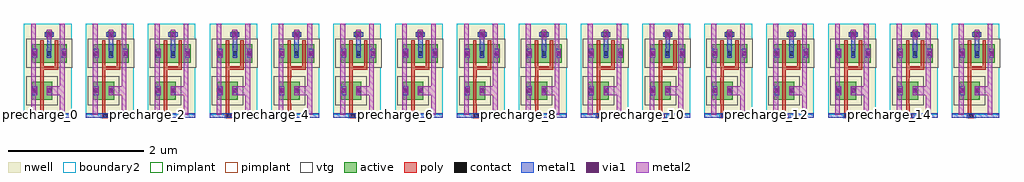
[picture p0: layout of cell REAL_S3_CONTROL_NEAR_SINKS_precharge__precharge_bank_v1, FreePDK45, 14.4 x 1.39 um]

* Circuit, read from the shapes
.subckt REAL_S3_CONTROL_NEAR_SINKS_precharge__precharge_bank_v1 precharge_0 precharge_1 precharge_10 precharge_11 precharge_12 precharge_13 precharge_14 precharge_15 precharge_2 precharge_3 precharge_4 precharge_5 precharge_6 precharge_7 precharge_8 precharge_9 vdd
M1 REAL_S3_CONTROL_NEAR_SINKS_precharge__precharge_unit__0__gen_precharge_0/br precharge_0 REAL_S3_CONTROL_NEAR_SINKS_precharge__precharge_unit__0__gen_precharge_0/bl vdd pfet w=0.27u l=0.05u
M2 vdd precharge_0 REAL_S3_CONTROL_NEAR_SINKS_precharge__precharge_unit__0__gen_precharge_0/bl vdd pfet w=0.27u l=0.05u
M3 REAL_S3_CONTROL_NEAR_SINKS_precharge__precharge_unit__0__gen_precharge_0/br precharge_0 vdd vdd pfet w=0.27u l=0.05u
M4 REAL_S3_CONTROL_NEAR_SINKS_precharge__precharge_unit__0__gen_precharge_1/br precharge_1 REAL_S3_CONTROL_NEAR_SINKS_precharge__precharge_unit__0__gen_precharge_1/bl vdd pfet w=0.27u l=0.05u
M5 vdd precharge_1 REAL_S3_CONTROL_NEAR_SINKS_precharge__precharge_unit__0__gen_precharge_1/bl vdd pfet w=0.27u l=0.05u
M6 REAL_S3_CONTROL_NEAR_SINKS_precharge__precharge_unit__0__gen_precharge_1/br precharge_1 vdd vdd pfet w=0.27u l=0.05u
M7 REAL_S3_CONTROL_NEAR_SINKS_precharge__precharge_unit__0__gen_precharge_2/br precharge_2 REAL_S3_CONTROL_NEAR_SINKS_precharge__precharge_unit__0__gen_precharge_2/bl vdd pfet w=0.27u l=0.05u
M8 vdd precharge_2 REAL_S3_CONTROL_NEAR_SINKS_precharge__precharge_unit__0__gen_precharge_2/bl vdd pfet w=0.27u l=0.05u
M9 REAL_S3_CONTROL_NEAR_SINKS_precharge__precharge_unit__0__gen_precharge_2/br precharge_2 vdd vdd pfet w=0.27u l=0.05u
M10 REAL_S3_CONTROL_NEAR_SINKS_precharge__precharge_unit__0__gen_precharge_3/br precharge_3 REAL_S3_CONTROL_NEAR_SINKS_precharge__precharge_unit__0__gen_precharge_3/bl vdd pfet w=0.27u l=0.05u
M11 vdd precharge_3 REAL_S3_CONTROL_NEAR_SINKS_precharge__precharge_unit__0__gen_precharge_3/bl vdd pfet w=0.27u l=0.05u
M12 REAL_S3_CONTROL_NEAR_SINKS_precharge__precharge_unit__0__gen_precharge_3/br precharge_3 vdd vdd pfet w=0.27u l=0.05u
M13 REAL_S3_CONTROL_NEAR_SINKS_precharge__precharge_unit__0__gen_precharge_4/br precharge_4 REAL_S3_CONTROL_NEAR_SINKS_precharge__precharge_unit__0__gen_precharge_4/bl vdd pfet w=0.27u l=0.05u
M14 vdd precharge_4 REAL_S3_CONTROL_NEAR_SINKS_precharge__precharge_unit__0__gen_precharge_4/bl vdd pfet w=0.27u l=0.05u
M15 REAL_S3_CONTROL_NEAR_SINKS_precharge__precharge_unit__0__gen_precharge_4/br precharge_4 vdd vdd pfet w=0.27u l=0.05u
M16 REAL_S3_CONTROL_NEAR_SINKS_precharge__precharge_unit__0__gen_precharge_5/br precharge_5 REAL_S3_CONTROL_NEAR_SINKS_precharge__precharge_unit__0__gen_precharge_5/bl vdd pfet w=0.27u l=0.05u
M17 vdd precharge_5 REAL_S3_CONTROL_NEAR_SINKS_precharge__precharge_unit__0__gen_precharge_5/bl vdd pfet w=0.27u l=0.05u
M18 REAL_S3_CONTROL_NEAR_SINKS_precharge__precharge_unit__0__gen_precharge_5/br precharge_5 vdd vdd pfet w=0.27u l=0.05u
M19 REAL_S3_CONTROL_NEAR_SINKS_precharge__precharge_unit__0__gen_precharge_6/br precharge_6 REAL_S3_CONTROL_NEAR_SINKS_precharge__precharge_unit__0__gen_precharge_6/bl vdd pfet w=0.27u l=0.05u
M20 vdd precharge_6 REAL_S3_CONTROL_NEAR_SINKS_precharge__precharge_unit__0__gen_precharge_6/bl vdd pfet w=0.27u l=0.05u
M21 REAL_S3_CONTROL_NEAR_SINKS_precharge__precharge_unit__0__gen_precharge_6/br precharge_6 vdd vdd pfet w=0.27u l=0.05u
M22 REAL_S3_CONTROL_NEAR_SINKS_precharge__precharge_unit__0__gen_precharge_7/br precharge_7 REAL_S3_CONTROL_NEAR_SINKS_precharge__precharge_unit__0__gen_precharge_7/bl vdd pfet w=0.27u l=0.05u
M23 vdd precharge_7 REAL_S3_CONTROL_NEAR_SINKS_precharge__precharge_unit__0__gen_precharge_7/bl vdd pfet w=0.27u l=0.05u
M24 REAL_S3_CONTROL_NEAR_SINKS_precharge__precharge_unit__0__gen_precharge_7/br precharge_7 vdd vdd pfet w=0.27u l=0.05u
M25 REAL_S3_CONTROL_NEAR_SINKS_precharge__precharge_unit__0__gen_precharge_8/br precharge_8 REAL_S3_CONTROL_NEAR_SINKS_precharge__precharge_unit__0__gen_precharge_8/bl vdd pfet w=0.27u l=0.05u
M26 vdd precharge_8 REAL_S3_CONTROL_NEAR_SINKS_precharge__precharge_unit__0__gen_precharge_8/bl vdd pfet w=0.27u l=0.05u
M27 REAL_S3_CONTROL_NEAR_SINKS_precharge__precharge_unit__0__gen_precharge_8/br precharge_8 vdd vdd pfet w=0.27u l=0.05u
M28 REAL_S3_CONTROL_NEAR_SINKS_precharge__precharge_unit__0__gen_precharge_9/br precharge_9 REAL_S3_CONTROL_NEAR_SINKS_precharge__precharge_unit__0__gen_precharge_9/bl vdd pfet w=0.27u l=0.05u
M29 vdd precharge_9 REAL_S3_CONTROL_NEAR_SINKS_precharge__precharge_unit__0__gen_precharge_9/bl vdd pfet w=0.27u l=0.05u
M30 REAL_S3_CONTROL_NEAR_SINKS_precharge__precharge_unit__0__gen_precharge_9/br precharge_9 vdd vdd pfet w=0.27u l=0.05u
M31 REAL_S3_CONTROL_NEAR_SINKS_precharge__precharge_unit__0__gen_precharge_10/br precharge_10 REAL_S3_CONTROL_NEAR_SINKS_precharge__precharge_unit__0__gen_precharge_10/bl vdd pfet w=0.27u l=0.05u
M32 vdd precharge_10 REAL_S3_CONTROL_NEAR_SINKS_precharge__precharge_unit__0__gen_precharge_10/bl vdd pfet w=0.27u l=0.05u
M33 REAL_S3_CONTROL_NEAR_SINKS_precharge__precharge_unit__0__gen_precharge_10/br precharge_10 vdd vdd pfet w=0.27u l=0.05u
M34 REAL_S3_CONTROL_NEAR_SINKS_precharge__precharge_unit__0__gen_precharge_11/br precharge_11 REAL_S3_CONTROL_NEAR_SINKS_precharge__precharge_unit__0__gen_precharge_11/bl vdd pfet w=0.27u l=0.05u
M35 vdd precharge_11 REAL_S3_CONTROL_NEAR_SINKS_precharge__precharge_unit__0__gen_precharge_11/bl vdd pfet w=0.27u l=0.05u
M36 REAL_S3_CONTROL_NEAR_SINKS_precharge__precharge_unit__0__gen_precharge_11/br precharge_11 vdd vdd pfet w=0.27u l=0.05u
M37 REAL_S3_CONTROL_NEAR_SINKS_precharge__precharge_unit__0__gen_precharge_12/br precharge_12 REAL_S3_CONTROL_NEAR_SINKS_precharge__precharge_unit__0__gen_precharge_12/bl vdd pfet w=0.27u l=0.05u
M38 vdd precharge_12 REAL_S3_CONTROL_NEAR_SINKS_precharge__precharge_unit__0__gen_precharge_12/bl vdd pfet w=0.27u l=0.05u
M39 REAL_S3_CONTROL_NEAR_SINKS_precharge__precharge_unit__0__gen_precharge_12/br precharge_12 vdd vdd pfet w=0.27u l=0.05u
M40 REAL_S3_CONTROL_NEAR_SINKS_precharge__precharge_unit__0__gen_precharge_13/br precharge_13 REAL_S3_CONTROL_NEAR_SINKS_precharge__precharge_unit__0__gen_precharge_13/bl vdd pfet w=0.27u l=0.05u
M41 vdd precharge_13 REAL_S3_CONTROL_NEAR_SINKS_precharge__precharge_unit__0__gen_precharge_13/bl vdd pfet w=0.27u l=0.05u
M42 REAL_S3_CONTROL_NEAR_SINKS_precharge__precharge_unit__0__gen_precharge_13/br precharge_13 vdd vdd pfet w=0.27u l=0.05u
M43 REAL_S3_CONTROL_NEAR_SINKS_precharge__precharge_unit__0__gen_precharge_14/br precharge_14 REAL_S3_CONTROL_NEAR_SINKS_precharge__precharge_unit__0__gen_precharge_14/bl vdd pfet w=0.27u l=0.05u
M44 vdd precharge_14 REAL_S3_CONTROL_NEAR_SINKS_precharge__precharge_unit__0__gen_precharge_14/bl vdd pfet w=0.27u l=0.05u
M45 REAL_S3_CONTROL_NEAR_SINKS_precharge__precharge_unit__0__gen_precharge_14/br precharge_14 vdd vdd pfet w=0.27u l=0.05u
M46 REAL_S3_CONTROL_NEAR_SINKS_precharge__precharge_unit__0__gen_precharge_15/br precharge_15 REAL_S3_CONTROL_NEAR_SINKS_precharge__precharge_unit__0__gen_precharge_15/bl vdd pfet w=0.27u l=0.05u
M47 vdd precharge_15 REAL_S3_CONTROL_NEAR_SINKS_precharge__precharge_unit__0__gen_precharge_15/bl vdd pfet w=0.27u l=0.05u
M48 REAL_S3_CONTROL_NEAR_SINKS_precharge__precharge_unit__0__gen_precharge_15/br precharge_15 vdd vdd pfet w=0.27u l=0.05u
.ends

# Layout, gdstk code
import gdstk
lib = gdstk.Library(unit=1e-6, precision=1e-09)
def R(c, l, rs):  # rectangles x0, y0, x1, y1
    for r in rs: c.add(gdstk.rectangle(r[:2], r[2:], *l))
active = (1, 0)
nwell = (3, 0)
nimplant = (4, 0)
pimplant = (5, 0)
vtg = (6, 0)
poly = (9, 0)
contact = (10, 0)
metal1 = (11, 0)
via1 = (12, 0)
metal2 = (13, 0)
boundary2 = (239, 0)

real_s3_control_near_sin = lib.new_cell('REAL_S3_CONTROL_NEAR_SINKS_precharge__precharge_unit__1__sram_1rw_32x16_freepdk45_contact_11')
R(real_s3_control_near_sin, active, [(0,0.022,0.09,0.112)])
R(real_s3_control_near_sin, nwell, [(-0.055,-0.033,0.145,0.168)])
R(real_s3_control_near_sin, pimplant, [(0,0.022,0.09,0.112)])
R(real_s3_control_near_sin, contact, [(0.013,0.035,0.077,0.1)])
R(real_s3_control_near_sin, metal1, [(0.013,0,0.077,0.135)])
R(real_s3_control_near_sin, boundary2, [(-0.055,-0.033,0.145,0.168)])

c_real_s3_control_near_sin = lib.new_cell('REAL_S3_CONTROL_NEAR_SINKS_precharge__precharge_unit__6__sram_1rw_32x16_freepdk45_pmos_m1_w0_270_sm1_dm1')
R(c_real_s3_control_near_sin, active, [(0,0,0.305,0.27)])
R(c_real_s3_control_near_sin, nwell, [(-0.08,-0.08,0.385,0.35)])
R(c_real_s3_control_near_sin, pimplant, [(0,0,0.305,0.27)])
R(c_real_s3_control_near_sin, vtg, [(-0.08,-0.08,0.385,0.35)])
R(c_real_s3_control_near_sin, poly, [(0.127,-0.055,0.177,0.325), (0.127,-0.055,0.177,0.325)])
R(c_real_s3_control_near_sin, metal1, [(0.013,0.068,0.077,0.203), (0.227,0.068,0.292,0.203)])
R(c_real_s3_control_near_sin, boundary2, [(-0.08,-0.08,0.385,0.35)])
c_real_s3_control_near_sin.add(gdstk.Reference(real_s3_control_near_sin, (0,0.068)))
c_real_s3_control_near_sin.add(gdstk.Reference(real_s3_control_near_sin, (0.215,0.068)))
c_real_s3_control_near_sin.add(gdstk.Label('G', (0.152,0.135), layer=9, texttype=0))
c_real_s3_control_near_sin.add(gdstk.Label('S', (0.045,0.135), layer=11, texttype=0))
c_real_s3_control_near_sin.add(gdstk.Label('D', (0.26,0.135), layer=11, texttype=0))

c_real_s3_control_near_sin_ = lib.new_cell('REAL_S3_CONTROL_NEAR_SINKS_precharge__precharge_unit__2__sram_1rw_32x16_freepdk45_contact_14')
R(c_real_s3_control_near_sin_, poly, [(0.03,0,0.105,0.075)])
R(c_real_s3_control_near_sin_, contact, [(0.035,0.005,0.1,0.07)])
R(c_real_s3_control_near_sin_, metal1, [(0,0.005,0.135,0.07)])
R(c_real_s3_control_near_sin_, boundary2, [(0,0,0.135,0.075)])

c_real_s3_control_near_sin__ = lib.new_cell('REAL_S3_CONTROL_NEAR_SINKS_precharge__precharge_unit__4__sram_1rw_32x16_freepdk45_contact_22')
R(c_real_s3_control_near_sin__, active, [(0.022,0,0.112,0.09)])
R(c_real_s3_control_near_sin__, nwell, [(-0.033,-0.055,0.168,0.145)])
R(c_real_s3_control_near_sin__, nimplant, [(0.022,0,0.112,0.09)])
R(c_real_s3_control_near_sin__, contact, [(0.035,0.013,0.1,0.077)])
R(c_real_s3_control_near_sin__, metal1, [(0,0.013,0.135,0.077)])
R(c_real_s3_control_near_sin__, boundary2, [(-0.033,-0.055,0.168,0.145)])

c_real_s3_control_near_sin___ = lib.new_cell('REAL_S3_CONTROL_NEAR_SINKS_precharge__precharge_unit__3__sram_1rw_32x16_freepdk45_contact_17')
R(c_real_s3_control_near_sin___, metal1, [(0,0.035,0.135,0.1)])
R(c_real_s3_control_near_sin___, via1, [(0.035,0.035,0.1,0.1)])
R(c_real_s3_control_near_sin___, metal2, [(0.033,0,0.103,0.135)])
R(c_real_s3_control_near_sin___, boundary2, [(0,0,0.135,0.135)])

c_real_s3_control_near_sin____ = lib.new_cell('REAL_S3_CONTROL_NEAR_SINKS_precharge__precharge_unit__5__sram_1rw_32x16_freepdk45_contact_23')
R(c_real_s3_control_near_sin____, metal1, [(0.002,0,0.068,0.135)])
R(c_real_s3_control_near_sin____, via1, [(0.002,0.035,0.068,0.1)])
R(c_real_s3_control_near_sin____, metal2, [(0,0,0.07,0.135)])
R(c_real_s3_control_near_sin____, boundary2, [(0,0,0.07,0.135)])

c_real_s3_control_near_sin_____ = lib.new_cell('REAL_S3_CONTROL_NEAR_SINKS_precharge__precharge_unit__0__gen_precharge')
R(c_real_s3_control_near_sin_____, nwell, [(0,0,0.705,1.34)])
R(c_real_s3_control_near_sin_____, poly, [(0.24,-0.037,0.29,0.013), (0.265,-0.037,0.29,0.013), (0.24,-0.013,0.29,0.165), (0.24,0.545,0.29,0.715), (0.24,0.665,0.505,0.715)])
R(c_real_s3_control_near_sin_____, metal1, [(0,-0.045,0.705,0.02), (0.34,0.905,0.405,1.185), (0.34,1.153,0.405,1.218)])
R(c_real_s3_control_near_sin_____, metal2, [(0.105,0,0.175,1.34), (0.105,0,0.175,1.34), (0.53,0,0.6,1.34), (0.53,0,0.6,1.34), (0.14,0.288,0.157,0.422), (0.372,0.288,0.565,0.422), (0.14,0.837,0.157,0.972), (0.565,0.837,0.588,0.972)])
R(c_real_s3_control_near_sin_____, boundary2, [(0,0,0.705,1.34)])
c_real_s3_control_near_sin_____.add(gdstk.Reference(c_real_s3_control_near_sin, (0.112,0.22)))
c_real_s3_control_near_sin_____.add(gdstk.Reference(c_real_s3_control_near_sin, (0.112,0.77)))
c_real_s3_control_near_sin_____.add(gdstk.Reference(c_real_s3_control_near_sin, (0.328,0.77)))
c_real_s3_control_near_sin_____.add(gdstk.Reference(c_real_s3_control_near_sin_, (0.222,-0.05)))
c_real_s3_control_near_sin_____.add(gdstk.Reference(c_real_s3_control_near_sin__, (0.305,1.14)))
c_real_s3_control_near_sin_____.add(gdstk.Reference(c_real_s3_control_near_sin___, (0.305,1.117)))
c_real_s3_control_near_sin_____.add(gdstk.Reference(c_real_s3_control_near_sin____, (0.122,0.288)))
c_real_s3_control_near_sin_____.add(gdstk.Reference(c_real_s3_control_near_sin____, (0.338,0.288)))
c_real_s3_control_near_sin_____.add(gdstk.Reference(c_real_s3_control_near_sin____, (0.122,0.837)))
c_real_s3_control_near_sin_____.add(gdstk.Reference(c_real_s3_control_near_sin____, (0.552,0.837)))
c_real_s3_control_near_sin_____.add(gdstk.Label('en_bar', (0.352,-0.013), layer=11, texttype=0))
c_real_s3_control_near_sin_____.add(gdstk.Label('vdd', (0.372,1.185), layer=11, texttype=0))
c_real_s3_control_near_sin_____.add(gdstk.Label('bl', (0.14,0.67), layer=13, texttype=0))
c_real_s3_control_near_sin_____.add(gdstk.Label('br', (0.565,0.67), layer=13, texttype=0))

c_real_s3_control_near_sin______ = lib.new_cell('REAL_S3_CONTROL_NEAR_SINKS_precharge__precharge_bank_v1')
c_real_s3_control_near_sin______.add(gdstk.Reference(c_real_s3_control_near_sin_____, (0,0.05)))
c_real_s3_control_near_sin______.add(gdstk.Reference(c_real_s3_control_near_sin_____, (0.912,0.05)))
c_real_s3_control_near_sin______.add(gdstk.Reference(c_real_s3_control_near_sin_____, (1.825,0.05)))
c_real_s3_control_near_sin______.add(gdstk.Reference(c_real_s3_control_near_sin_____, (2.738,0.05)))
c_real_s3_control_near_sin______.add(gdstk.Reference(c_real_s3_control_near_sin_____, (3.65,0.05)))
c_real_s3_control_near_sin______.add(gdstk.Reference(c_real_s3_control_near_sin_____, (4.562,0.05)))
c_real_s3_control_near_sin______.add(gdstk.Reference(c_real_s3_control_near_sin_____, (5.475,0.05)))
c_real_s3_control_near_sin______.add(gdstk.Reference(c_real_s3_control_near_sin_____, (6.387,0.05)))
c_real_s3_control_near_sin______.add(gdstk.Reference(c_real_s3_control_near_sin_____, (7.3,0.05)))
c_real_s3_control_near_sin______.add(gdstk.Reference(c_real_s3_control_near_sin_____, (8.213,0.05)))
c_real_s3_control_near_sin______.add(gdstk.Reference(c_real_s3_control_near_sin_____, (9.125,0.05)))
c_real_s3_control_near_sin______.add(gdstk.Reference(c_real_s3_control_near_sin_____, (10.037,0.05)))
c_real_s3_control_near_sin______.add(gdstk.Reference(c_real_s3_control_near_sin_____, (10.95,0.05)))
c_real_s3_control_near_sin______.add(gdstk.Reference(c_real_s3_control_near_sin_____, (11.863,0.05)))
c_real_s3_control_near_sin______.add(gdstk.Reference(c_real_s3_control_near_sin_____, (12.775,0.05)))
c_real_s3_control_near_sin______.add(gdstk.Reference(c_real_s3_control_near_sin_____, (13.687,0.05)))
c_real_s3_control_near_sin______.add(gdstk.Label('precharge_0', (0,0.05), layer=11, texttype=2))
c_real_s3_control_near_sin______.add(gdstk.Label('precharge_1', (0.912,0.05), layer=11, texttype=2))
c_real_s3_control_near_sin______.add(gdstk.Label('precharge_2', (1.825,0.05), layer=11, texttype=2))
c_real_s3_control_near_sin______.add(gdstk.Label('precharge_3', (2.738,0.05), layer=11, texttype=2))
c_real_s3_control_near_sin______.add(gdstk.Label('precharge_4', (3.65,0.05), layer=11, texttype=2))
c_real_s3_control_near_sin______.add(gdstk.Label('precharge_5', (4.562,0.05), layer=11, texttype=2))
c_real_s3_control_near_sin______.add(gdstk.Label('precharge_6', (5.475,0.05), layer=11, texttype=2))
c_real_s3_control_near_sin______.add(gdstk.Label('precharge_7', (6.387,0.05), layer=11, texttype=2))
c_real_s3_control_near_sin______.add(gdstk.Label('precharge_8', (7.3,0.05), layer=11, texttype=2))
c_real_s3_control_near_sin______.add(gdstk.Label('precharge_9', (8.213,0.05), layer=11, texttype=2))
c_real_s3_control_near_sin______.add(gdstk.Label('precharge_10', (9.125,0.05), layer=11, texttype=2))
c_real_s3_control_near_sin______.add(gdstk.Label('precharge_11', (10.037,0.05), layer=11, texttype=2))
c_real_s3_control_near_sin______.add(gdstk.Label('precharge_12', (10.95,0.05), layer=11, texttype=2))
c_real_s3_control_near_sin______.add(gdstk.Label('precharge_13', (11.863,0.05), layer=11, texttype=2))
c_real_s3_control_near_sin______.add(gdstk.Label('precharge_14', (12.775,0.05), layer=11, texttype=2))
c_real_s3_control_near_sin______.add(gdstk.Label('precharge_15', (13.687,0.05), layer=11, texttype=2))

lib.write_gds('REAL_S3_CONTROL_NEAR_SINKS_precharge__precharge_bank_v1.gds')
